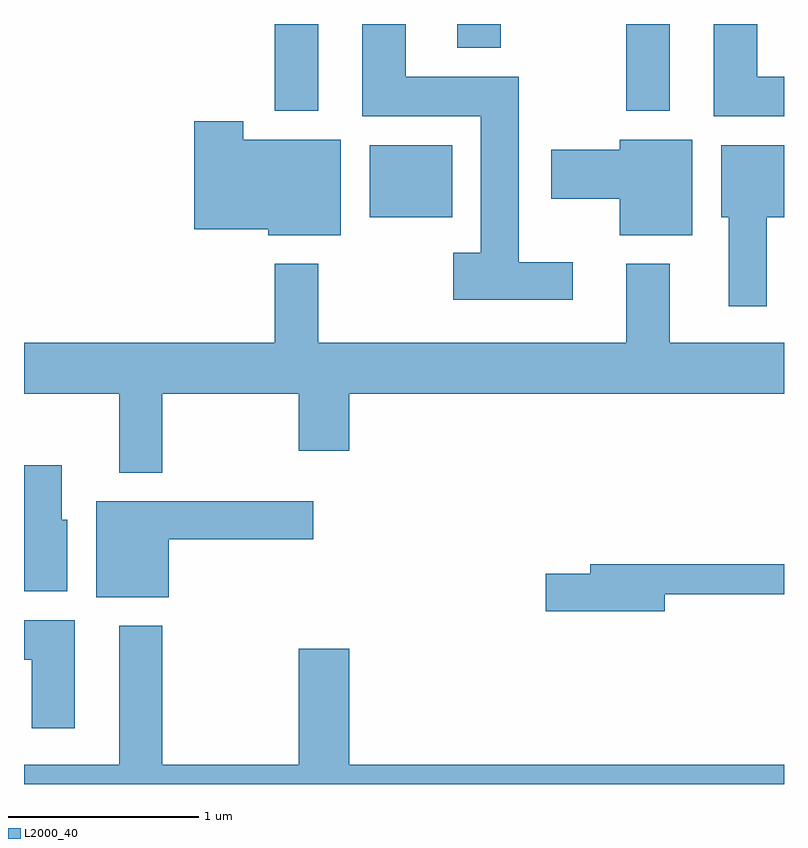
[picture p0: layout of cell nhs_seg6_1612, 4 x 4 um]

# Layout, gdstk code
import gdstk
lib = gdstk.Library(unit=1e-6, precision=1e-09)
def R(c, l, rs):  # rectangles x0, y0, x1, y1
    for r in rs: c.add(gdstk.rectangle(r[:2], r[2:], *l))
def P(c, l, *ps):  # polygons
    for p in ps: c.add(gdstk.Polygon(p, *l))
L2000_40 = (2000, 40)

nhs_seg6_1612 = lib.new_cell('nhs_seg6_1612')
R(nhs_seg6_1612, L2000_40, [(235.431,1593.146,235.864,1593.524), (234.931,1593.706,235.159,1594.162), (236.781,1593.706,237.009,1594.162), (235.891,1594.036,236.119,1594.162)])
P(nhs_seg6_1612, L2000_40, [(236.499,1592.909),(236.214,1592.909),(236.214,1593.884),(235.619,1593.884),(235.619,1594.162),(235.391,1594.162),(235.391,1593.676),(236.016,1593.676),(236.016,1592.959),(235.871,1592.959),(235.871,1592.711),(236.499,1592.711)],
  [(237.611,1593.884),(237.469,1593.884),(237.469,1594.162),(237.241,1594.162),(237.241,1593.676),(237.611,1593.676)],
  [(235.279,1593.554),(234.764,1593.554),(234.764,1593.649),(234.506,1593.649),(234.506,1593.081),(234.896,1593.081),(234.896,1593.051),(235.279,1593.051)],
  [(237.129,1593.554),(236.746,1593.554),(236.746,1593.499),(236.386,1593.499),(236.386,1593.241),(236.746,1593.241),(236.746,1593.051),(237.129,1593.051)],
  [(237.519,1593.146),(237.611,1593.146),(237.611,1593.524),(237.281,1593.524),(237.281,1593.146),(237.321,1593.146),(237.321,1592.676),(237.519,1592.676)],
  [(234.339,1592.216),(235.056,1592.216),(235.056,1591.916),(235.324,1591.916),(235.324,1592.216),(237.611,1592.216),(237.611,1592.484),(237.009,1592.484),(237.009,1592.899),(236.781,1592.899),(236.781,1592.484),(235.159,1592.484),(235.159,1592.899),(234.931,1592.899),(234.931,1592.484),(233.611,1592.484),(233.611,1592.216),(234.111,1592.216),(234.111,1591.801),(234.339,1591.801)],
  [(233.839,1591.554),(233.809,1591.554),(233.809,1591.839),(233.611,1591.839),(233.611,1591.176),(233.839,1591.176)],
  [(234.374,1591.451),(235.134,1591.451),(235.134,1591.649),(233.991,1591.649),(233.991,1591.146),(234.374,1591.146)],
  [(236.984,1591.161),(237.611,1591.161),(237.611,1591.319),(236.591,1591.319),(236.591,1591.269),(236.356,1591.269),(236.356,1591.071),(236.984,1591.071)],
  [(233.879,1591.024),(233.611,1591.024),(233.611,1590.816),(233.651,1590.816),(233.651,1590.456),(233.879,1590.456)],
  [(237.611,1590.264),(235.324,1590.264),(235.324,1590.874),(235.056,1590.874),(235.056,1590.264),(234.339,1590.264),(234.339,1590.994),(234.111,1590.994),(234.111,1590.264),(233.611,1590.264),(233.611,1590.162),(237.611,1590.162)])

lib.write_gds('nhs_seg6_1612.gds')
